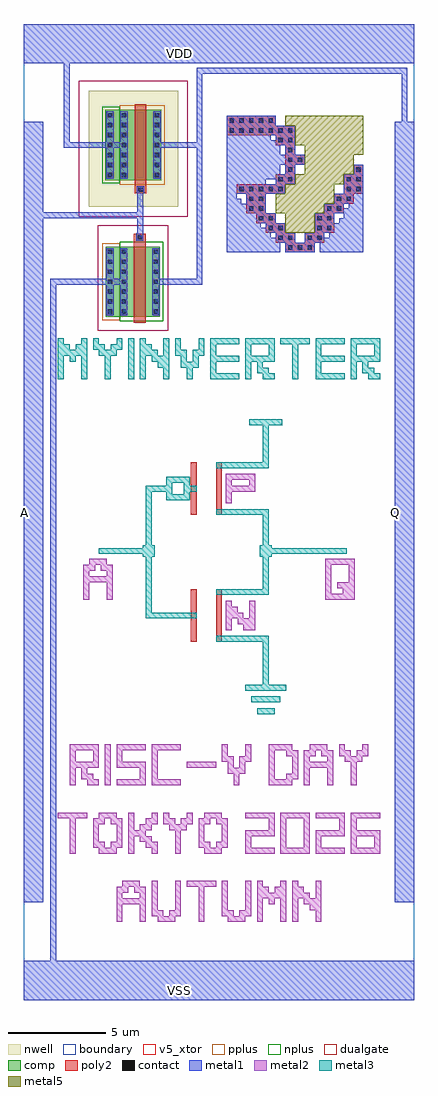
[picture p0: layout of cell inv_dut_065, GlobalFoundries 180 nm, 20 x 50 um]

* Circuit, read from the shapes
.subckt inv_dut_065 A Q VDD VSS
XM1 Q A VSS VSS nfet_05v0 w=3.6u l=0.6u
XM2 Q A VDD VDD pfet_05v0 w=3.6u l=0.6u
.ends

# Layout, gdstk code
import gdstk
lib = gdstk.Library(unit=1e-6, precision=1e-09)
def R(c, l, rs):  # rectangles x0, y0, x1, y1
    for r in rs: c.add(gdstk.rectangle(r[:2], r[2:], *l))
def A(c, l, x, y, w, h, nx, ny, dx, dy):  # array of equal rectangles
    R(c, l, [(x+i*dx, y+j*dy, x+i*dx+w, y+j*dy+h) for i in range(nx) for j in range(ny)])
def P(c, l, *ps):  # polygons
    for p in ps: c.add(gdstk.Polygon(p, *l))
boundary = (0, 0)
nwell = (21, 0)
comp = (22, 0)
poly2 = (30, 0)
pplus = (31, 0)
nplus = (32, 0)
contact = (33, 0)
metal1 = (34, 0)
metal2 = (36, 0)
metal3 = (42, 0)
dualgate = (55, 0)
metal5 = (81, 0)
v5_xtor = (112, 1)

nfet = lib.new_cell('nfet')
R(nfet, comp, [(-2.35,0,0.42,3.6)])
R(nfet, poly2, [(-0.91,-0.3,-0.31,4.26)])
R(nfet, pplus, [(-2.52,-0.17,-1.64,3.77)])
R(nfet, nplus, [(-1.64,-0.24,0.59,3.84)])
A(nfet, contact, -2.25, 0.16, 0.22, 0.22, 1, 7, 0, 0.51)
A(nfet, contact, -1.54, 0.16, 0.22, 0.22, 1, 7, 0, 0.51)
A(nfet, contact, 0.1, 0.16, 0.22, 0.22, 1, 7, 0, 0.51)
R(nfet, contact, [(-0.72,3.97,-0.5,4.19)])
R(nfet, metal1, [(-2.33,0.08,-1.95,3.52), (-1.62,0.08,-1.24,3.52), (0.02,0.08,0.4,3.52), (-0.8,3.89,-0.42,4.27)])
R(nfet, dualgate, [(-2.77,-0.71,0.84,4.68)])
R(nfet, v5_xtor, [(-2.77,-0.71,0.84,4.68)])

pfet = lib.new_cell('pfet')
R(pfet, nwell, [(-3.27,-1.37,1.32,4.59)])
R(pfet, comp, [(-2.41,0,0.46,3.6)])
R(pfet, poly2, [(-0.91,-0.68,-0.31,3.9)])
R(pfet, pplus, [(-1.68,-0.24,0.63,3.84)])
R(pfet, nplus, [(-2.58,-0.17,-1.68,3.77)])
A(pfet, contact, -2.29, 0.16, 0.22, 0.22, 1, 7, 0, 0.51)
A(pfet, contact, -1.56, 0.16, 0.22, 0.22, 1, 7, 0, 0.51)
A(pfet, contact, 0.12, 0.16, 0.22, 0.22, 1, 7, 0, 0.51)
R(pfet, contact, [(-0.72,-0.6,-0.5,-0.38)])
R(pfet, metal1, [(-0.8,-0.68,-0.42,-0.3), (-2.37,0.08,-1.99,3.52), (-1.64,0.08,-1.26,3.52), (0.04,0.08,0.42,3.52)])
R(pfet, dualgate, [(-3.77,-1.87,1.82,5.09)])
R(pfet, v5_xtor, [(-3.77,-1.87,1.82,5.09)])

inv_dut_065 = lib.new_cell('inv_dut_065')
R(inv_dut_065, boundary, [(-10,-25,10,25)])
R(inv_dut_065, poly2, [(-1.45,-6.65,-1.15,-3.95), (-0.15,-6.65,0.15,-3.95), (-1.45,-0.15,-1.15,2.55), (-0.15,-0.15,0.15,2.55)])
P(inv_dut_065, poly2, [(3.4,13.3),(3.4,13.8),(2.9,13.8),(2.9,14.3),(2.4,14.3),(2.4,14.8),(1.9,14.8),(1.9,15.3),(1.4,15.3),(1.4,16.3),(0.9,16.3),(0.9,16.8),(2.9,16.8),(2.9,17.3),(3.4,17.3),(3.4,18.8),(2.9,18.8),(2.9,19.3),(0.4,19.3),(0.4,20.3),(2.9,20.3),(2.9,19.8),(3.9,19.8),(3.9,18.3),(4.4,18.3),(4.4,17.8),(3.9,17.8),(3.9,16.8),(3.4,16.8),(3.4,16.3),(2.4,16.3),(2.4,15.3),(2.9,15.3),(2.9,14.8),(3.4,14.8),(3.4,14.3),(3.9,14.3),(3.9,13.8),(4.4,13.8),(4.4,14.3),(4.9,14.3),(4.9,15.3),(5.4,15.3),(5.4,15.8),(5.9,15.8),(5.9,16.3),(6.4,16.3),(6.4,17.3),(6.9,17.3),(6.9,17.8),(7.4,17.8),(7.4,16.3),(6.9,16.3),(6.9,15.8),(6.4,15.8),(6.4,15.3),(5.9,15.3),(5.9,14.3),(5.4,14.3),(5.4,13.8),(4.9,13.8),(4.9,13.3)])
A(inv_dut_065, contact, 3.54, 13.44, 0.22, 0.22, 3, 1, 0.5, 0)
A(inv_dut_065, contact, 5.04, 13.94, 0.22, 0.22, 1, 3, 0, 0.5)
A(inv_dut_065, contact, 5.54, 14.44, 0.22, 0.22, 1, 3, 0, 0.5)
A(inv_dut_065, contact, 2.04, 14.94, 0.22, 0.22, 1, 3, 0, 0.5)
A(inv_dut_065, contact, 6.54, 15.94, 0.22, 0.22, 1, 3, 0, 0.5)
A(inv_dut_065, contact, 1.04, 16.44, 0.22, 0.22, 5, 1, 0.5, 0)
A(inv_dut_065, contact, 7.04, 16.44, 0.22, 0.22, 1, 3, 0, 0.5)
A(inv_dut_065, contact, 3.54, 16.94, 0.22, 0.22, 1, 5, 0, 0.5)
A(inv_dut_065, contact, 0.54, 19.44, 0.22, 0.22, 7, 1, 0.5, 0)
A(inv_dut_065, contact, 0.54, 19.94, 0.22, 0.22, 5, 1, 0.5, 0)
R(inv_dut_065, contact, [(3.04,13.94,3.26,14.16), (3.54,13.94,3.76,14.16), (4.54,13.94,4.76,14.16), (2.54,14.44,2.76,14.66), (3.04,14.44,3.26,14.66), (2.54,14.94,2.76,15.16), (1.54,15.44,1.76,15.66), (6.04,15.44,6.26,15.66), (1.54,15.94,1.76,16.16), (6.04,15.94,6.26,16.16), (3.04,16.94,3.26,17.16), (4.04,17.94,4.26,18.16), (3.04,18.94,3.26,19.16)])
R(inv_dut_065, metal1, [(-10,-25,10,-23), (-10,-20,-9,20), (9,-20,10,20), (-10,23,10,25)])
P(inv_dut_065, metal1, [(0.4,13.3),(0.4,14.3),(2.65,14.3),(2.65,14.05),(2.9,14.05),(2.9,14.3),(0.4,14.3),(0.4,14.8),(2.15,14.8),(2.15,14.55),(2.4,14.55),(2.4,14.8),(0.4,14.8),(0.4,16.3),(0.9,16.3),(0.9,16.05),(1.15,16.05),(1.15,15.8),(1.4,15.8),(1.4,16.3),(0.4,16.3),(0.4,17.05),(2.4,17.05),(2.4,16.8),(2.9,16.8),(2.9,17.05),(0.4,17.05),(0.4,17.8),(3.15,17.8),(3.15,17.3),(3.4,17.3),(3.4,17.8),(0.4,17.8),(0.4,18.8),(3.15,18.8),(3.15,18.3),(3.4,18.3),(3.4,18.8),(0.4,18.8),(0.4,19.3),(2.65,19.3),(2.65,19.05),(2.9,19.05),(2.9,19.3),(0.4,19.3),(0.4,20.3),(2.9,20.3),(2.9,19.8),(3.9,19.8),(3.9,18.3),(4.4,18.3),(4.4,17.8),(3.9,17.8),(3.9,16.8),(3.4,16.8),(3.4,16.3),(2.4,16.3),(2.4,15.3),(2.9,15.3),(2.9,14.8),(3.4,14.8),(3.4,14.3),(3.9,14.3),(3.9,13.8),(4.4,13.8),(4.4,14.3),(5.4,14.3),(5.4,14.05),(5.65,14.05),(5.65,14.3),(4.9,14.3),(4.9,15.3),(5.9,15.3),(5.9,14.8),(6.15,14.8),(6.15,15.05),(6.4,15.05),(6.4,15.3),(5.4,15.3),(5.4,15.8),(6.4,15.8),(6.4,15.55),(6.65,15.55),(6.65,15.8),(5.9,15.8),(5.9,16.3),(6.4,16.3),(6.4,17.3),(6.9,17.3),(6.9,17.8),(7.4,17.8),(7.4,13.3),(5.15,13.3),(5.15,13.8),(4.9,13.8),(4.9,13.3),(3.4,13.3),(3.4,13.8),(3.15,13.8),(3.15,13.3)])
R(inv_dut_065, metal2, [(-5.85,-14,-5.55,-11.9), (-1.65,-13.1,-0.15,-12.8)])
P(inv_dut_065, metal2, [(-5.25,-21),(-5.25,-19.2),(-4.65,-19.2),(-4.65,-19.5),(-4.95,-19.5),(-4.95,-19.8),(-4.05,-19.8),(-4.05,-19.5),(-4.35,-19.5),(-4.35,-19.2),(-4.95,-19.2),(-4.95,-18.9),(-4.05,-18.9),(-4.05,-19.2),(-3.75,-19.2),(-3.75,-21),(-4.05,-21),(-4.05,-20.1),(-4.95,-20.1),(-4.95,-21)],
  [(-3.15,-21),(-3.15,-20.7),(-3.45,-20.7),(-3.45,-18.9),(-3.15,-18.9),(-3.15,-20.4),(-2.85,-20.4),(-2.85,-20.7),(-2.55,-20.7),(-2.55,-20.4),(-2.25,-20.4),(-2.25,-18.9),(-1.95,-18.9),(-1.95,-20.7),(-2.25,-20.7),(-2.25,-21)],
  [(-1.05,-21),(-1.05,-19.2),(-1.65,-19.2),(-1.65,-18.9),(-0.15,-18.9),(-0.15,-19.2),(-0.75,-19.2),(-0.75,-21)],
  [(0.45,-21),(0.45,-20.7),(0.15,-20.7),(0.15,-18.9),(0.45,-18.9),(0.45,-20.4),(0.75,-20.4),(0.75,-20.7),(1.05,-20.7),(1.05,-20.4),(1.35,-20.4),(1.35,-18.9),(1.65,-18.9),(1.65,-20.7),(1.35,-20.7),(1.35,-21)],
  [(1.95,-21),(1.95,-18.9),(2.25,-18.9),(2.25,-19.2),(2.55,-19.2),(2.55,-19.5),(2.85,-19.5),(2.85,-19.2),(3.15,-19.2),(3.15,-18.9),(3.45,-18.9),(3.45,-21),(3.15,-21),(3.15,-19.8),(2.85,-19.8),(2.85,-20.1),(2.55,-20.1),(2.55,-19.8),(2.25,-19.8),(2.25,-21)],
  [(3.75,-21),(3.75,-18.9),(4.05,-18.9),(4.05,-19.2),(4.35,-19.2),(4.35,-19.5),(4.65,-19.5),(4.65,-19.8),(4.95,-19.8),(4.95,-18.9),(5.25,-18.9),(5.25,-21),(4.95,-21),(4.95,-20.4),(4.65,-20.4),(4.65,-20.1),(4.35,-20.1),(4.35,-19.8),(4.05,-19.8),(4.05,-21)],
  [(-7.65,-17.5),(-7.65,-15.7),(-8.25,-15.7),(-8.25,-15.4),(-6.75,-15.4),(-6.75,-15.7),(-7.35,-15.7),(-7.35,-17.5)],
  [(-6.15,-17.5),(-6.15,-17.2),(-6.45,-17.2),(-6.45,-15.7),(-5.85,-15.7),(-5.85,-16),(-6.15,-16),(-6.15,-16.9),(-5.85,-16.9),(-5.85,-17.2),(-5.55,-17.2),(-5.55,-16.9),(-5.25,-16.9),(-5.25,-16),(-5.55,-16),(-5.55,-15.7),(-6.15,-15.7),(-6.15,-15.4),(-5.25,-15.4),(-5.25,-15.7),(-4.95,-15.7),(-4.95,-17.2),(-5.25,-17.2),(-5.25,-17.5)],
  [(-4.65,-17.5),(-4.65,-15.4),(-4.35,-15.4),(-4.35,-16.3),(-4.05,-16.3),(-4.05,-16),(-3.75,-16),(-3.75,-15.7),(-3.45,-15.7),(-3.45,-15.4),(-3.15,-15.4),(-3.15,-16),(-3.45,-16),(-3.45,-16.3),(-3.75,-16.3),(-3.75,-16.6),(-3.45,-16.6),(-3.45,-16.9),(-3.15,-16.9),(-3.15,-17.5),(-3.45,-17.5),(-3.45,-17.2),(-3.75,-17.2),(-3.75,-16.9),(-4.05,-16.9),(-4.05,-16.6),(-4.35,-16.6),(-4.35,-17.5)],
  [(-2.25,-17.5),(-2.25,-16.3),(-2.55,-16.3),(-2.55,-16),(-2.85,-16),(-2.85,-15.4),(-2.55,-15.4),(-2.55,-15.7),(-2.25,-15.7),(-2.25,-16),(-1.95,-16),(-1.95,-15.7),(-1.65,-15.7),(-1.65,-15.4),(-1.35,-15.4),(-1.35,-16),(-1.65,-16),(-1.65,-16.3),(-1.95,-16.3),(-1.95,-17.5)],
  [(-0.75,-17.5),(-0.75,-17.2),(-1.05,-17.2),(-1.05,-15.7),(-0.45,-15.7),(-0.45,-16),(-0.75,-16),(-0.75,-16.9),(-0.45,-16.9),(-0.45,-17.2),(-0.15,-17.2),(-0.15,-16.9),(0.15,-16.9),(0.15,-16),(-0.15,-16),(-0.15,-15.7),(-0.75,-15.7),(-0.75,-15.4),(0.15,-15.4),(0.15,-15.7),(0.45,-15.7),(0.45,-17.2),(0.15,-17.2),(0.15,-17.5)],
  [(1.35,-17.5),(1.35,-16.3),(2.55,-16.3),(2.55,-15.7),(1.35,-15.7),(1.35,-15.4),(2.85,-15.4),(2.85,-16.6),(1.65,-16.6),(1.65,-17.2),(2.85,-17.2),(2.85,-17.5)],
  [(3.15,-17.5),(3.15,-15.7),(3.45,-15.7),(3.45,-17.2),(4.35,-17.2),(4.35,-15.7),(3.15,-15.7),(3.15,-15.4),(4.65,-15.4),(4.65,-17.5)],
  [(4.95,-17.5),(4.95,-16.3),(6.15,-16.3),(6.15,-15.7),(4.95,-15.7),(4.95,-15.4),(6.45,-15.4),(6.45,-16.6),(5.25,-16.6),(5.25,-17.2),(6.45,-17.2),(6.45,-17.5)],
  [(6.75,-17.5),(6.75,-16.6),(7.05,-16.6),(7.05,-17.2),(7.95,-17.2),(7.95,-16.6),(6.75,-16.6),(6.75,-15.4),(8.25,-15.4),(8.25,-15.7),(7.05,-15.7),(7.05,-16.3),(8.25,-16.3),(8.25,-17.5)],
  [(-7.65,-14),(-7.65,-12.2),(-7.35,-12.2),(-7.35,-12.8),(-6.45,-12.8),(-6.45,-12.2),(-7.65,-12.2),(-7.65,-11.9),(-6.15,-11.9),(-6.15,-13.1),(-6.75,-13.1),(-6.75,-13.4),(-6.45,-13.4),(-6.45,-13.7),(-6.15,-13.7),(-6.15,-14),(-6.75,-14),(-6.75,-13.7),(-7.05,-13.7),(-7.05,-13.1),(-7.35,-13.1),(-7.35,-14)],
  [(-5.25,-14),(-5.25,-13.7),(-4.05,-13.7),(-4.05,-13.1),(-5.25,-13.1),(-5.25,-11.9),(-3.75,-11.9),(-3.75,-12.2),(-4.95,-12.2),(-4.95,-12.8),(-3.75,-12.8),(-3.75,-14)],
  [(-3.45,-14),(-3.45,-11.9),(-1.95,-11.9),(-1.95,-12.2),(-3.15,-12.2),(-3.15,-13.7),(-1.95,-13.7),(-1.95,-14)],
  [(0.75,-14),(0.75,-13.4),(0.45,-13.4),(0.45,-12.8),(0.15,-12.8),(0.15,-11.9),(0.45,-11.9),(0.45,-12.5),(0.75,-12.5),(0.75,-13.1),(1.05,-13.1),(1.05,-12.5),(1.35,-12.5),(1.35,-11.9),(1.65,-11.9),(1.65,-12.8),(1.35,-12.8),(1.35,-13.4),(1.05,-13.4),(1.05,-14)],
  [(2.55,-14),(2.55,-12.2),(2.85,-12.2),(2.85,-13.7),(3.45,-13.7),(3.45,-13.4),(3.75,-13.4),(3.75,-12.5),(3.45,-12.5),(3.45,-12.2),(2.55,-12.2),(2.55,-11.9),(3.75,-11.9),(3.75,-12.2),(4.05,-12.2),(4.05,-13.7),(3.75,-13.7),(3.75,-14)],
  [(4.35,-14),(4.35,-12.2),(4.95,-12.2),(4.95,-12.5),(4.65,-12.5),(4.65,-12.8),(5.55,-12.8),(5.55,-12.5),(5.25,-12.5),(5.25,-12.2),(4.65,-12.2),(4.65,-11.9),(5.55,-11.9),(5.55,-12.2),(5.85,-12.2),(5.85,-14),(5.55,-14),(5.55,-13.1),(4.65,-13.1),(4.65,-14)],
  [(6.75,-14),(6.75,-12.8),(6.45,-12.8),(6.45,-12.5),(6.15,-12.5),(6.15,-11.9),(6.45,-11.9),(6.45,-12.2),(6.75,-12.2),(6.75,-12.5),(7.05,-12.5),(7.05,-12.2),(7.35,-12.2),(7.35,-11.9),(7.65,-11.9),(7.65,-12.5),(7.35,-12.5),(7.35,-12.8),(7.05,-12.8),(7.05,-14)],
  [(0.35,-6.05),(0.35,-4.55),(0.65,-4.55),(0.65,-4.85),(0.95,-4.85),(0.95,-5.15),(1.25,-5.15),(1.25,-5.45),(1.55,-5.45),(1.55,-4.55),(1.85,-4.55),(1.85,-6.05),(1.25,-6.05),(1.25,-5.75),(0.95,-5.75),(0.95,-5.45),(0.65,-5.45),(0.65,-6.05)],
  [(-6.95,-4.5),(-6.95,-2.7),(-6.35,-2.7),(-6.35,-3),(-6.65,-3),(-6.65,-3.3),(-5.75,-3.3),(-5.75,-3),(-6.05,-3),(-6.05,-2.7),(-6.65,-2.7),(-6.65,-2.4),(-5.75,-2.4),(-5.75,-2.7),(-5.45,-2.7),(-5.45,-4.5),(-5.75,-4.5),(-5.75,-3.6),(-6.65,-3.6),(-6.65,-4.5)],
  [(5.45,-4.5),(5.45,-2.7),(5.75,-2.7),(5.75,-4.2),(6.35,-4.2),(6.35,-3.9),(6.05,-3.9),(6.05,-3.6),(6.65,-3.6),(6.65,-2.7),(5.45,-2.7),(5.45,-2.4),(6.95,-2.4),(6.95,-4.5)],
  [(0.35,0.45),(0.35,1.65),(0.65,1.65),(0.65,1.35),(1.55,1.35),(1.55,1.65),(0.35,1.65),(0.35,1.95),(1.85,1.95),(1.85,1.05),(0.65,1.05),(0.65,0.45)])
R(inv_dut_065, metal3, [(1.95,-10.35,2.85,-10.05), (1.65,-9.75,3.15,-9.45), (-4.65,6.8,-4.35,8.9)])
P(inv_dut_065, metal3, [(1.35,-9.15),(1.35,-8.85),(2.25,-8.85),(2.25,-6.65),(-0.15,-6.65),(-0.15,-6.35),(2.55,-6.35),(2.55,-8.85),(3.45,-8.85),(3.45,-9.15)],
  [(-0.15,-4.25),(-0.15,-3.95),(2.25,-3.95),(2.25,-2.3),(2.1,-2.3),(2.1,-1.7),(2.25,-1.7),(2.25,-0.15),(-0.15,-0.15),(-0.15,0.15),(2.55,0.15),(2.55,-1.7),(2.7,-1.7),(2.7,-1.85),(6.55,-1.85),(6.55,-2.15),(2.7,-2.15),(2.7,-2.3),(2.55,-2.3),(2.55,-4.25)],
  [(-3.75,-5.45),(-3.75,-2.3),(-3.9,-2.3),(-3.9,-2.15),(-6.15,-2.15),(-6.15,-1.85),(-3.9,-1.85),(-3.9,-1.7),(-3.75,-1.7),(-3.75,1.35),(-2.7,1.35),(-2.7,1.5),(-2.4,1.5),(-2.4,0.9),(-1.8,0.9),(-1.8,1.5),(-2.7,1.5),(-2.7,1.8),(-1.5,1.8),(-1.5,1.35),(-1.15,1.35),(-1.15,1.05),(-1.5,1.05),(-1.5,0.6),(-2.7,0.6),(-2.7,1.05),(-3.45,1.05),(-3.45,-1.7),(-3.3,-1.7),(-3.3,-2.3),(-3.45,-2.3),(-3.45,-5.15),(-1.15,-5.15),(-1.15,-5.45)],
  [(-0.15,2.25),(-0.15,2.55),(2.25,2.55),(2.25,4.45),(1.55,4.45),(1.55,4.75),(3.25,4.75),(3.25,4.45),(2.55,4.45),(2.55,2.25)],
  [(-8.25,6.8),(-8.25,8.9),(-7.95,8.9),(-7.95,8.6),(-7.65,8.6),(-7.65,8.3),(-7.35,8.3),(-7.35,8.6),(-7.05,8.6),(-7.05,8.9),(-6.75,8.9),(-6.75,6.8),(-7.05,6.8),(-7.05,8),(-7.35,8),(-7.35,7.7),(-7.65,7.7),(-7.65,8),(-7.95,8),(-7.95,6.8)],
  [(-5.85,6.8),(-5.85,8),(-6.15,8),(-6.15,8.3),(-6.45,8.3),(-6.45,8.9),(-6.15,8.9),(-6.15,8.6),(-5.85,8.6),(-5.85,8.3),(-5.55,8.3),(-5.55,8.6),(-5.25,8.6),(-5.25,8.9),(-4.95,8.9),(-4.95,8.3),(-5.25,8.3),(-5.25,8),(-5.55,8),(-5.55,6.8)],
  [(-4.05,6.8),(-4.05,8.9),(-3.75,8.9),(-3.75,8.6),(-3.45,8.6),(-3.45,8.3),(-3.15,8.3),(-3.15,8),(-2.85,8),(-2.85,8.9),(-2.55,8.9),(-2.55,6.8),(-2.85,6.8),(-2.85,7.4),(-3.15,7.4),(-3.15,7.7),(-3.45,7.7),(-3.45,8),(-3.75,8),(-3.75,6.8)],
  [(-1.65,6.8),(-1.65,7.4),(-1.95,7.4),(-1.95,8),(-2.25,8),(-2.25,8.9),(-1.95,8.9),(-1.95,8.3),(-1.65,8.3),(-1.65,7.7),(-1.35,7.7),(-1.35,8.3),(-1.05,8.3),(-1.05,8.9),(-0.75,8.9),(-0.75,8),(-1.05,8),(-1.05,7.4),(-1.35,7.4),(-1.35,6.8)],
  [(-0.45,6.8),(-0.45,8.9),(1.05,8.9),(1.05,8.6),(-0.15,8.6),(-0.15,8),(1.05,8),(1.05,7.7),(-0.15,7.7),(-0.15,7.1),(1.05,7.1),(1.05,6.8)],
  [(1.35,6.8),(1.35,8.6),(1.65,8.6),(1.65,8),(2.55,8),(2.55,8.6),(1.35,8.6),(1.35,8.9),(2.85,8.9),(2.85,7.7),(2.25,7.7),(2.25,7.4),(2.55,7.4),(2.55,7.1),(2.85,7.1),(2.85,6.8),(2.25,6.8),(2.25,7.1),(1.95,7.1),(1.95,7.7),(1.65,7.7),(1.65,6.8)],
  [(3.75,6.8),(3.75,8.6),(3.15,8.6),(3.15,8.9),(4.65,8.9),(4.65,8.6),(4.05,8.6),(4.05,6.8)],
  [(4.95,6.8),(4.95,8.9),(6.45,8.9),(6.45,8.6),(5.25,8.6),(5.25,8),(6.45,8),(6.45,7.7),(5.25,7.7),(5.25,7.1),(6.45,7.1),(6.45,6.8)],
  [(6.75,6.8),(6.75,8.6),(7.05,8.6),(7.05,8),(7.95,8),(7.95,8.6),(6.75,8.6),(6.75,8.9),(8.25,8.9),(8.25,7.7),(7.65,7.7),(7.65,7.4),(7.95,7.4),(7.95,7.1),(8.25,7.1),(8.25,6.8),(7.65,6.8),(7.65,7.1),(7.35,7.1),(7.35,7.7),(7.05,7.7),(7.05,6.8)])
P(inv_dut_065, metal5, [(3.4,14.3),(3.4,15.3),(2.9,15.3),(2.9,16.3),(3.4,16.3),(3.4,16.8),(3.9,16.8),(3.9,17.3),(4.4,17.3),(4.4,18.8),(3.9,18.8),(3.9,19.8),(3.4,19.8),(3.4,20.3),(7.4,20.3),(7.4,18.3),(6.9,18.3),(6.9,17.3),(6.4,17.3),(6.4,16.8),(5.9,16.8),(5.9,15.8),(5.4,15.8),(5.4,15.3),(4.9,15.3),(4.9,14.3)])
inv_dut_065.add(gdstk.FlexPath([(-4.06,14.08),(-4.04,14.08),(-4.04,16.51),(-4.02,16.51)], 0.3, ends="extended", simple_path=True, layer=34, datatype=0))  # metal1
inv_dut_065.add(gdstk.FlexPath([(-9.5,15.2),(-4.04,15.2)], 0.3, ends="extended", simple_path=True, layer=34, datatype=0))  # metal1
inv_dut_065.add(gdstk.FlexPath([(-3.24,11.8),(-1,11.8),(-1,22.6),(9.5,22.6),(9.5,19.7)], 0.3, ends="extended", simple_path=True, layer=34, datatype=0))  # metal1
inv_dut_065.add(gdstk.FlexPath([(-3.18,18.8),(-1,18.8)], 0.3, ends="extended", simple_path=True, layer=34, datatype=0))  # metal1
inv_dut_065.add(gdstk.FlexPath([(-5.59,11.8),(-4.88,11.8)], 0.3, ends="extended", simple_path=True, layer=34, datatype=0))  # metal1
inv_dut_065.add(gdstk.FlexPath([(-5.59,11.8),(-8.5,11.8),(-8.5,-24)], 0.3, ends="extended", simple_path=True, layer=34, datatype=0))  # metal1
inv_dut_065.add(gdstk.FlexPath([(-5.59,18.8),(-4.86,18.8)], 0.3, ends="extended", simple_path=True, layer=34, datatype=0))  # metal1
inv_dut_065.add(gdstk.FlexPath([(-5.59,18.8),(-7.8,18.8),(-7.8,24)], 0.3, ends="extended", simple_path=True, layer=34, datatype=0))  # metal1
inv_dut_065.add(gdstk.Reference(nfet, (-3.45,10)))
inv_dut_065.add(gdstk.Reference(pfet, (-3.41,17)))
inv_dut_065.add(gdstk.Label('VDD', (-2,23.5), layer=34, texttype=10))
inv_dut_065.add(gdstk.Label('VSS', (-2,-24.5), layer=34, texttype=10))
inv_dut_065.add(gdstk.Label('A', (-9.97,0), layer=34, texttype=10))
inv_dut_065.add(gdstk.Label('Q', (9.03,0), layer=34, texttype=10))

lib.write_gds('inv_dut_065.gds')
